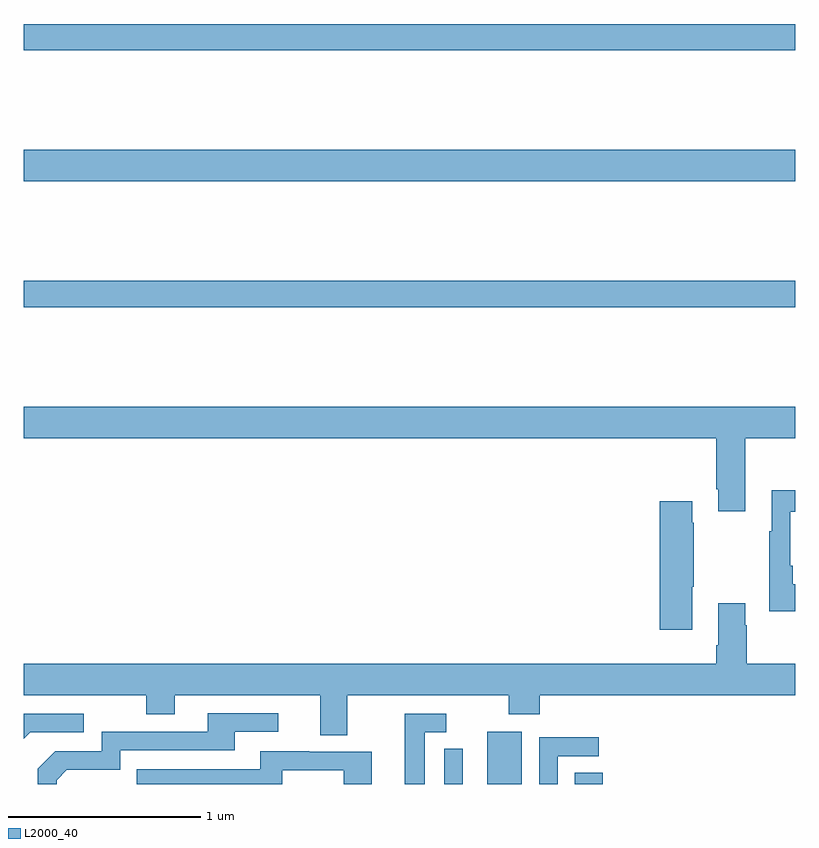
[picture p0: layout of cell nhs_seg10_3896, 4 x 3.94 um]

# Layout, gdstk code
import gdstk
lib = gdstk.Library(unit=1e-6, precision=1e-09)
def R(c, l, rs):  # rectangles x0, y0, x1, y1
    for r in rs: c.add(gdstk.rectangle(r[:2], r[2:], *l))
def P(c, l, *ps):  # polygons
    for p in ps: c.add(gdstk.Polygon(p, *l))
L2000_40 = (2000, 40)

nhs_seg10_3896 = lib.new_cell('nhs_seg10_3896')
R(nhs_seg10_3896, L2000_40, [(327.404,1322.5,327.583,1322.77), (327.857,1322.5,328.001,1322.558), (325,1324.972,329,1325.108), (325,1325.624,329,1325.788), (325,1326.304,329,1326.44)])
P(nhs_seg10_3896, L2000_40, [(328.741,1324.292),(329,1324.292),(329,1324.456),(325,1324.456),(325,1324.292),(328.589,1324.292),(328.589,1324.027),(328.601,1324.027),(328.601,1323.915),(328.741,1323.915)],
  [(329,1323.535),(328.987,1323.535),(328.987,1323.631),(328.974,1323.631),(328.974,1323.911),(329,1323.911),(329,1324.024),(328.877,1324.024),(328.877,1323.811),(328.866,1323.811),(328.866,1323.395),(329,1323.395)],
  [(328.465,1323.523),(328.473,1323.523),(328.473,1323.854),(328.465,1323.854),(328.465,1323.967),(328.298,1323.967),(328.298,1323.3),(328.465,1323.3)],
  [(326.677,1322.96),(327.514,1322.96),(327.514,1322.861),(327.674,1322.861),(327.674,1322.96),(329,1322.96),(329,1323.124),(328.749,1323.124),(328.749,1323.323),(328.741,1323.323),(328.741,1323.436),(328.601,1323.436),(328.601,1323.22),(328.589,1323.22),(328.589,1323.124),(325,1323.124),(325,1322.96),(325.636,1322.96),(325.636,1322.861),(325.783,1322.861),(325.783,1322.96),(326.537,1322.96),(326.537,1322.752),(326.677,1322.752)],
  [(325.17,1322.52),(325.223,1322.573),(325.5,1322.573),(325.5,1322.676),(326.095,1322.676),(326.095,1322.772),(326.32,1322.772),(326.32,1322.868),(325.955,1322.868),(325.955,1322.772),(325.404,1322.772),(325.404,1322.67),(325.164,1322.67),(325.074,1322.58),(325.074,1322.5),(325.17,1322.5)],
  [(325.035,1322.769),(325.312,1322.769),(325.312,1322.865),(325,1322.865),(325,1322.734)],
  [(327.079,1322.769),(327.19,1322.769),(327.19,1322.865),(326.975,1322.865),(326.975,1322.5),(327.079,1322.5)],
  [(327.768,1322.643),(327.982,1322.643),(327.982,1322.742),(327.672,1322.742),(327.672,1322.5),(327.768,1322.5)],
  [(327.275,1322.53),(327.276,1322.53),(327.276,1322.684),(327.18,1322.684),(327.18,1322.5),(327.275,1322.5)],
  [(326.34,1322.571),(326.658,1322.571),(326.658,1322.5),(326.803,1322.5),(326.803,1322.667),(326.479,1322.667),(326.479,1322.671),(326.225,1322.671),(326.225,1322.577),(325.585,1322.577),(325.585,1322.5),(326.34,1322.5)])

lib.write_gds('nhs_seg10_3896.gds')
